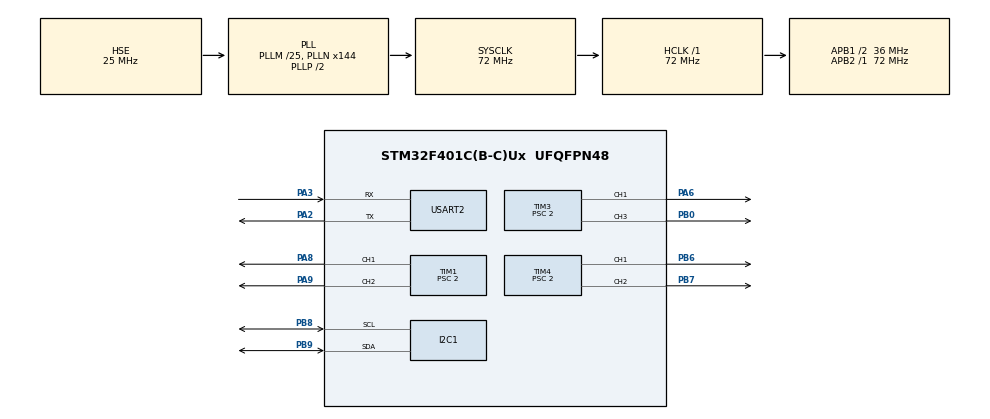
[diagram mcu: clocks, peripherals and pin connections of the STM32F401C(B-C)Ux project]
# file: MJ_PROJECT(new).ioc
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Dma.Request0=TIM1_CH1
Dma.Request1=TIM1_CH2
Dma.Request2=TIM3_CH1/TRIG
Dma.Request3=TIM3_CH3
Dma.Request4=TIM4_CH1
Dma.Request5=TIM4_CH2
Dma.TIM1_CH1.0.Direction=DMA_MEMORY_TO_PERIPH
Dma.TIM1_CH1.0.FIFOMode=DMA_FIFOMODE_DISABLE
Dma.TIM1_CH1.0.Instance=DMA2_Stream1
Dma.TIM1_CH1.0.MemDataAlignment=DMA_MDATAALIGN_HALFWORD
Dma.TIM1_CH1.0.MemInc=DMA_MINC_ENABLE
Dma.TIM1_CH1.0.Mode=DMA_CIRCULAR
Dma.TIM1_CH1.0.PeriphDataAlignment=DMA_PDATAALIGN_HALFWORD
Dma.TIM1_CH1.0.PeriphInc=DMA_PINC_DISABLE
Dma.TIM1_CH1.0.Priority=DMA_PRIORITY_VERY_HIGH
Dma.TIM1_CH2.1.Direction=DMA_MEMORY_TO_PERIPH
Dma.TIM1_CH2.1.FIFOMode=DMA_FIFOMODE_DISABLE
Dma.TIM1_CH2.1.Instance=DMA2_Stream2
Dma.TIM1_CH2.1.MemDataAlignment=DMA_MDATAALIGN_HALFWORD
Dma.TIM1_CH2.1.MemInc=DMA_MINC_ENABLE
Dma.TIM1_CH2.1.Mode=DMA_CIRCULAR
Dma.TIM1_CH2.1.PeriphDataAlignment=DMA_PDATAALIGN_HALFWORD
Dma.TIM1_CH2.1.PeriphInc=DMA_PINC_DISABLE
Dma.TIM1_CH2.1.Priority=DMA_PRIORITY_VERY_HIGH
Dma.TIM3_CH1/TRIG.2.Direction=DMA_MEMORY_TO_PERIPH
Dma.TIM3_CH1/TRIG.2.FIFOMode=DMA_FIFOMODE_DISABLE
Dma.TIM3_CH1/TRIG.2.Instance=DMA1_Stream4
Dma.TIM3_CH1/TRIG.2.MemDataAlignment=DMA_MDATAALIGN_HALFWORD
Dma.TIM3_CH1/TRIG.2.MemInc=DMA_MINC_ENABLE
Dma.TIM3_CH1/TRIG.2.Mode=DMA_CIRCULAR
Dma.TIM3_CH1/TRIG.2.PeriphDataAlignment=DMA_PDATAALIGN_HALFWORD
Dma.TIM3_CH1/TRIG.2.PeriphInc=DMA_PINC_DISABLE
Dma.TIM3_CH1/TRIG.2.Priority=DMA_PRIORITY_VERY_HIGH
Dma.TIM3_CH3.3.Direction=DMA_MEMORY_TO_PERIPH
Dma.TIM3_CH3.3.FIFOMode=DMA_FIFOMODE_DISABLE
Dma.TIM3_CH3.3.Instance=DMA1_Stream7
Dma.TIM3_CH3.3.MemDataAlignment=DMA_MDATAALIGN_HALFWORD
Dma.TIM3_CH3.3.MemInc=DMA_MINC_ENABLE
Dma.TIM3_CH3.3.Mode=DMA_CIRCULAR
Dma.TIM3_CH3.3.PeriphDataAlignment=DMA_PDATAALIGN_HALFWORD
Dma.TIM3_CH3.3.PeriphInc=DMA_PINC_DISABLE
Dma.TIM3_CH3.3.Priority=DMA_PRIORITY_VERY_HIGH
Dma.TIM4_CH1.4.Direction=DMA_MEMORY_TO_PERIPH
Dma.TIM4_CH1.4.FIFOMode=DMA_FIFOMODE_DISABLE
Dma.TIM4_CH1.4.Instance=DMA1_Stream0
Dma.TIM4_CH1.4.MemDataAlignment=DMA_MDATAALIGN_HALFWORD
Dma.TIM4_CH1.4.MemInc=DMA_MINC_ENABLE
Dma.TIM4_CH1.4.Mode=DMA_CIRCULAR
Dma.TIM4_CH1.4.PeriphDataAlignment=DMA_PDATAALIGN_HALFWORD
Dma.TIM4_CH1.4.PeriphInc=DMA_PINC_DISABLE
Dma.TIM4_CH1.4.Priority=DMA_PRIORITY_VERY_HIGH
Dma.TIM4_CH2.5.Direction=DMA_MEMORY_TO_PERIPH
Dma.TIM4_CH2.5.FIFOMode=DMA_FIFOMODE_DISABLE
Dma.TIM4_CH2.5.Instance=DMA1_Stream3
Dma.TIM4_CH2.5.MemDataAlignment=DMA_MDATAALIGN_HALFWORD
Dma.TIM4_CH2.5.MemInc=DMA_MINC_ENABLE
Dma.TIM4_CH2.5.Mode=DMA_CIRCULAR
Dma.TIM4_CH2.5.PeriphDataAlignment=DMA_PDATAALIGN_HALFWORD
Dma.TIM4_CH2.5.PeriphInc=DMA_PINC_DISABLE
Dma.TIM4_CH2.5.Priority=DMA_PRIORITY_VERY_HIGH
I2C1.I2C_Mode=I2C_Fast
Mcu.Family=STM32F4
Mcu.Name=STM32F401C(B-C)Ux
Mcu.Package=UFQFPN48
NVIC.DMA1_Stream0_IRQn=true\:0\:0\:false\:false\:true\:false\:true\:true
NVIC.DMA1_Stream3_IRQn=true\:0\:0\:false\:false\:true\:false\:true\:true
NVIC.DMA1_Stream4_IRQn=true\:0\:0\:false\:false\:true\:false\:true\:true
NVIC.DMA1_Stream7_IRQn=true\:0\:0\:false\:false\:true\:false\:true\:true
NVIC.DMA2_Stream1_IRQn=true\:0\:0\:false\:false\:true\:false\:true\:true
NVIC.DMA2_Stream2_IRQn=true\:0\:0\:false\:false\:true\:false\:true\:true
NVIC.PriorityGroup=NVIC_PRIORITYGROUP_4
PA2.Mode=Asynchronous
PA2.Signal=USART2_TX
PA3.Mode=Asynchronous
PA3.Signal=USART2_RX
PA6.Signal=S_TIM3_CH1
PA8.Signal=S_TIM1_CH1
PA9.Signal=S_TIM1_CH2
PB0.Signal=S_TIM3_CH3
PB6.Signal=S_TIM4_CH1
PB7.Signal=S_TIM4_CH2
PB8.Mode=I2C
PB8.Signal=I2C1_SCL
PB9.Mode=I2C
PB9.Signal=I2C1_SDA
PH0\ -\ OSC_IN.Mode=HSE-External-Oscillator
PH0\ -\ OSC_IN.Signal=RCC_OSC_IN
PH1\ -\ OSC_OUT.Mode=HSE-External-Oscillator
PH1\ -\ OSC_OUT.Signal=RCC_OSC_OUT
ProjectManager.HeapSize=0x200
ProjectManager.StackSize=0x400
ProjectManager.TargetToolchain=STM32CubeIDE
RCC.48MHZClocksFreq_Value=36000000
RCC.AHBFreq_Value=72000000
RCC.APB1CLKDivider=RCC_HCLK_DIV2
RCC.APB1Freq_Value=36000000
RCC.APB1TimFreq_Value=72000000
RCC.APB2Freq_Value=72000000
RCC.APB2TimFreq_Value=72000000
RCC.CortexFreq_Value=72000000
RCC.HCLKFreq_Value=72000000
RCC.HSE_VALUE=25000000
RCC.HSI_VALUE=16000000
RCC.LSE_VALUE=32768
RCC.PLLM=25
RCC.PLLN=144
RCC.PLLSourceVirtual=RCC_PLLSOURCE_HSE
RCC.SYSCLKFreq_VALUE=72000000
RCC.SYSCLKSource=RCC_SYSCLKSOURCE_PLLCLK
RCC.VCOOutputFreq_Value=144000000
SH.S_TIM1_CH1.0=TIM1_CH1,PWM Generation1 CH1
SH.S_TIM1_CH2.0=TIM1_CH2,PWM Generation2 CH2
SH.S_TIM3_CH1.0=TIM3_CH1,PWM Generation1 CH1
SH.S_TIM3_CH3.0=TIM3_CH3,PWM Generation3 CH3
SH.S_TIM4_CH1.0=TIM4_CH1,PWM Generation1 CH1
SH.S_TIM4_CH2.0=TIM4_CH2,PWM Generation2 CH2
STMicroelectronics.X-CUBE-ALGOBUILD.1.4.0.LibraryCcDSPOoLibraryJjDSPOoLibrary=true
TIM1.Channel-PWM\ Generation1\ CH1=TIM_CHANNEL_1
TIM1.Channel-PWM\ Generation2\ CH2=TIM_CHANNEL_2
TIM1.Period=999
TIM1.Prescaler=2
TIM3.Channel-PWM\ Generation1\ CH1=TIM_CHANNEL_1
TIM3.Channel-PWM\ Generation3\ CH3=TIM_CHANNEL_3
TIM3.Period=999
TIM3.Prescaler=2
TIM4.Channel-PWM\ Generation1\ CH1=TIM_CHANNEL_1
TIM4.Channel-PWM\ Generation2\ CH2=TIM_CHANNEL_2
TIM4.Period=999
TIM4.Prescaler=2
USART2.VirtualMode=VM_ASYNC
VP_STMicroelectronics.X-CUBE-ALGOBUILD_VS_DSPOoLibraryJjLibrary_1.4.0_1.4.0.Mode=DSPOoLibraryJjLibrary
VP_TIM1_VS_ClockSourceINT.Mode=Internal
VP_TIM3_VS_ClockSourceINT.Mode=Internal
VP_TIM4_VS_ClockSourceINT.Mode=Internal
board=custom

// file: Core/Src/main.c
/* USER CODE BEGIN Header */
/**
  ******************************************************************************
  * @file           : main.c
  * @brief          : Main program body
  ******************************************************************************
  * @attention
  *
  * Copyright (c) 2026 STMicroelectronics.
  * All rights reserved.
  *
  * This software is licensed under terms that can be found in the LICENSE file
  * in the root directory of this software component.
  * If no LICENSE file comes with this software, it is provided AS-IS.
  *
  ******************************************************************************
  */
/* USER CODE END Header */
#include "main.h"

/* USER CODE BEGIN Includes */
#include "ssd1306.h"
#include "ssd1306_fonts.h"
#include "arm_math.h"

#include <math.h>
#include <stdint.h>
#include <stdio.h>
#include <string.h>

/* ========== NTC CONFIG ========== */
#define ADC_MAX             4095.0f
#define SERIES_RESISTOR     10000.0f
#define NTC_NOMINAL         10000.0f
#define TEMP_NOMINAL        25.0f
#define BETA_COEFFICIENT    3950.0f

#define TEMP_WARNING        70.0f
#define TEMP_SHUTDOWN       85.0f

#define ADC_SAMPLES         8
/* ========== NTC CONFIG ========== */

#define ARR         999   // Timer period
#define SAMPLES     480    // Number of samples per sine wave

uint16_t CCR_table_A[SAMPLES];  // S1/S2/S5/S6/S9/S10
uint16_t CCR_table_B[SAMPLES];  // S3/S4/S7/S8/S11/S12

void generate_sine_table(void)
{
    for(int i = 0; i < SAMPLES; i++)
    {
        float angle    = 2.0f * 3.14159265358979323846f * i / SAMPLES;
        float sine_val = (sinf(angle) + 1.0f) * 0.5f;
        uint16_t duty  = (uint16_t)(sine_val * ARR + 0.5f);

        CCR_table_A[i] = duty;                           // LEG-A/C/E
        CCR_table_B[i] = (uint16_t)(ARR - duty);		 // LEG-B/D/F
    }
}
/* USER CODE END Includes */

I2C_HandleTypeDef hi2c1;

TIM_HandleTypeDef htim1;
TIM_HandleTypeDef htim3;
TIM_HandleTypeDef htim4;
DMA_HandleTypeDef hdma_tim1_ch1;
DMA_HandleTypeDef hdma_tim1_ch2;
DMA_HandleTypeDef hdma_tim3_ch1_trig;
DMA_HandleTypeDef hdma_tim3_ch3;
DMA_HandleTypeDef hdma_tim4_ch1;
DMA_HandleTypeDef hdma_tim4_ch2;

UART_HandleTypeDef huart2;

/* USER CODE BEGIN PV */
uint8_t rx_byte;
char uart_buffer[50];
int uart_index = 0;

void start_synchronized_pwms(void)
{
	// 1️⃣ Start DMA PWM (but don't start counters yet)

	//BRIDGE-1
	HAL_TIM_PWM_Start_DMA(&htim1, TIM_CHANNEL_1, (uint32_t*)CCR_table_A, SAMPLES); // LEG-A
	HAL_TIM_PWM_Start_DMA(&htim1, TIM_CHANNEL_2, (uint32_t*)CCR_table_B, SAMPLES); // LEG-B

	//BRIDGE-2
	HAL_TIM_PWM_Start_DMA(&htim3, TIM_CHANNEL_1, (uint32_t*)CCR_table_A, SAMPLES); // LEG-C
	HAL_TIM_PWM_Start_DMA(&htim3, TIM_CHANNEL_3, (uint32_t*)CCR_table_B, SAMPLES); // LEG-D

	//BRIDGE-3
	HAL_TIM_PWM_Start_DMA(&htim4, TIM_CHANNEL_1, (uint32_t*)CCR_table_A, SAMPLES); // LEG-E
	HAL_TIM_PWM_Start_DMA(&htim4, TIM_CHANNEL_2, (uint32_t*)CCR_table_B, SAMPLES); // LEG-F

	// 2️⃣ Set initial counter offsets (phase shift)
	__HAL_TIM_SET_COUNTER(&htim1, 0);     // 0°   --- bridge1--S1/S2/S3/S4
	__HAL_TIM_SET_COUNTER(&htim3, ARR/6); // 60°  --- bridge2--S5/S6/S7/S8
	__HAL_TIM_SET_COUNTER(&htim4, ARR/3); // 120° --- bridge3--S9/S10/S11/S12

	// 3️⃣ Start ALL timers AT ONCE
	HAL_TIM_Base_Start(&htim1);	//BRIDGE-1
	HAL_TIM_Base_Start(&htim3);	//BRIDGE-2
	HAL_TIM_Base_Start(&htim4); //BRIDGE-3

}
/* USER CODE END PV */

void SystemClock_Config(void);
static void MX_GPIO_Init(void);
static void MX_DMA_Init(void);
static void MX_TIM1_Init(void);
static void MX_TIM3_Init(void);
static void MX_TIM4_Init(void);
static void MX_I2C1_Init(void);
static void MX_USART2_UART_Init(void);

int main(void)
{

  /* MCU Configuration--------------------------------------------------------*/

  /* Reset of all peripherals, Initializes the Flash interface and the Systick. */
  HAL_Init();

  /* Configure the system clock */
  SystemClock_Config();

  /* Initialize all configured peripherals */
  MX_GPIO_Init();
  MX_DMA_Init();
  MX_TIM1_Init();
  MX_TIM3_Init();
  MX_TIM4_Init();
  MX_I2C1_Init();
  MX_USART2_UART_Init();
  /* USER CODE BEGIN 2 */
  	generate_sine_table();         // Fill all 6 tables with SAME sine
    start_synchronized_pwms();     // Start DMA + timers with carrier shift

    ssd1306_Init();       // start OLED
    ssd1306_Fill(Black);
    ssd1306_UpdateScreen();

    // Start UART interrupt receive
    HAL_UART_Receive_IT(&huart2, &rx_byte, 1);
  /* USER CODE END 2 */

  /* Infinite loop */
  while (1)
  {

  }
}

void SystemClock_Config(void)
{
  RCC_OscInitTypeDef RCC_OscInitStruct = {0};
  RCC_ClkInitTypeDef RCC_ClkInitStruct = {0};

  /** Configure the main internal regulator output voltage
  */
  __HAL_RCC_PWR_CLK_ENABLE();
  __HAL_PWR_VOLTAGESCALING_CONFIG(PWR_REGULATOR_VOLTAGE_SCALE2);

  /** Initializes the RCC Oscillators according to the specified parameters
  * in the RCC_OscInitTypeDef structure.
  */
  RCC_OscInitStruct.OscillatorType = RCC_OSCILLATORTYPE_HSE;
  RCC_OscInitStruct.HSEState = RCC_HSE_ON;
  RCC_OscInitStruct.PLL.PLLState = RCC_PLL_ON;
  RCC_OscInitStruct.PLL.PLLSource = RCC_PLLSOURCE_HSE;
  RCC_OscInitStruct.PLL.PLLM = 25;
  RCC_OscInitStruct.PLL.PLLN = 144;
  RCC_OscInitStruct.PLL.PLLP = RCC_PLLP_DIV2;
  RCC_OscInitStruct.PLL.PLLQ = 4;
  if (HAL_RCC_OscConfig(&RCC_OscInitStruct) != HAL_OK)
  {
    Error_Handler();
  }

  /** Initializes the CPU, AHB and APB buses clocks
  */
  RCC_ClkInitStruct.ClockType = RCC_CLOCKTYPE_HCLK|RCC_CLOCKTYPE_SYSCLK
                              |RCC_CLOCKTYPE_PCLK1|RCC_CLOCKTYPE_PCLK2;
  RCC_ClkInitStruct.SYSCLKSource = RCC_SYSCLKSOURCE_PLLCLK;
  RCC_ClkInitStruct.AHBCLKDivider = RCC_SYSCLK_DIV1;
  RCC_ClkInitStruct.APB1CLKDivider = RCC_HCLK_DIV2;
  RCC_ClkInitStruct.APB2CLKDivider = RCC_HCLK_DIV1;

  if (HAL_RCC_ClockConfig(&RCC_ClkInitStruct, FLASH_LATENCY_2) != HAL_OK)
  {
    Error_Handler();
  }
}

static void MX_I2C1_Init(void)
{

  hi2c1.Instance = I2C1;
  hi2c1.Init.ClockSpeed = 400000;
  hi2c1.Init.DutyCycle = I2C_DUTYCYCLE_2;
  hi2c1.Init.OwnAddress1 = 0;
  hi2c1.Init.AddressingMode = I2C_ADDRESSINGMODE_7BIT;
  hi2c1.Init.DualAddressMode = I2C_DUALADDRESS_DISABLE;
  hi2c1.Init.OwnAddress2 = 0;
  hi2c1.Init.GeneralCallMode = I2C_GENERALCALL_DISABLE;
  hi2c1.Init.NoStretchMode = I2C_NOSTRETCH_DISABLE;
  if (HAL_I2C_Init(&hi2c1) != HAL_OK)
  {
    Error_Handler();
  }

}

static void MX_TIM1_Init(void)
{

  TIM_ClockConfigTypeDef sClockSourceConfig = {0};
  TIM_MasterConfigTypeDef sMasterConfig = {0};
  TIM_OC_InitTypeDef sConfigOC = {0};
  TIM_BreakDeadTimeConfigTypeDef sBreakDeadTimeConfig = {0};

  htim1.Instance = TIM1;
  htim1.Init.Prescaler = 2;
  htim1.Init.CounterMode = TIM_COUNTERMODE_UP;
  htim1.Init.Period = 999;
  htim1.Init.ClockDivision = TIM_CLOCKDIVISION_DIV1;
  htim1.Init.RepetitionCounter = 0;
  htim1.Init.AutoReloadPreload = TIM_AUTORELOAD_PRELOAD_DISABLE;
  if (HAL_TIM_Base_Init(&htim1) != HAL_OK)
  {
    Error_Handler();
  }
  sClockSourceConfig.ClockSource = TIM_CLOCKSOURCE_INTERNAL;
  if (HAL_TIM_ConfigClockSource(&htim1, &sClockSourceConfig) != HAL_OK)
  {
    Error_Handler();
  }
  if (HAL_TIM_PWM_Init(&htim1) != HAL_OK)
  {
    Error_Handler();
  }
  sMasterConfig.MasterOutputTrigger = TIM_TRGO_RESET;
  sMasterConfig.MasterSlaveMode = TIM_MASTERSLAVEMODE_DISABLE;
  if (HAL_TIMEx_MasterConfigSynchronization(&htim1, &sMasterConfig) != HAL_OK)
  {
    Error_Handler();
  }
  sConfigOC.OCMode = TIM_OCMODE_PWM1;
  sConfigOC.Pulse = 0;
  sConfigOC.OCPolarity = TIM_OCPOLARITY_HIGH;
  sConfigOC.OCNPolarity = TIM_OCNPOLARITY_HIGH;
  sConfigOC.OCFastMode = TIM_OCFAST_DISABLE;
  sConfigOC.OCIdleState = TIM_OCIDLESTATE_RESET;
  sConfigOC.OCNIdleState = TIM_OCNIDLESTATE_RESET;
  if (HAL_TIM_PWM_ConfigChannel(&htim1, &sConfigOC, TIM_CHANNEL_1) != HAL_OK)
  {
    Error_Handler();
  }
  if (HAL_TIM_PWM_ConfigChannel(&htim1, &sConfigOC, TIM_CHANNEL_2) != HAL_OK)
  {
    Error_Handler();
  }
  sBreakDeadTimeConfig.OffStateRunMode = TIM_OSSR_DISABLE;
  sBreakDeadTimeConfig.OffStateIDLEMode = TIM_OSSI_DISABLE;
  sBreakDeadTimeConfig.LockLevel = TIM_LOCKLEVEL_OFF;
  sBreakDeadTimeConfig.DeadTime = 0;
  sBreakDeadTimeConfig.BreakState = TIM_BREAK_DISABLE;
  sBreakDeadTimeConfig.BreakPolarity = TIM_BREAKPOLARITY_HIGH;
  sBreakDeadTimeConfig.AutomaticOutput = TIM_AUTOMATICOUTPUT_DISABLE;
  if (HAL_TIMEx_ConfigBreakDeadTime(&htim1, &sBreakDeadTimeConfig) != HAL_OK)
  {
    Error_Handler();
  }
  HAL_TIM_MspPostInit(&htim1);

}

static void MX_TIM3_Init(void)
{

  TIM_ClockConfigTypeDef sClockSourceConfig = {0};
  TIM_MasterConfigTypeDef sMasterConfig = {0};
  TIM_OC_InitTypeDef sConfigOC = {0};

  htim3.Instance = TIM3;
  htim3.Init.Prescaler = 2;
  htim3.Init.CounterMode = TIM_COUNTERMODE_UP;
  htim3.Init.Period = 999;
  htim3.Init.ClockDivision = TIM_CLOCKDIVISION_DIV1;
  htim3.Init.AutoReloadPreload = TIM_AUTORELOAD_PRELOAD_DISABLE;
  if (HAL_TIM_Base_Init(&htim3) != HAL_OK)
  {
    Error_Handler();
  }
  sClockSourceConfig.ClockSource = TIM_CLOCKSOURCE_INTERNAL;
  if (HAL_TIM_ConfigClockSource(&htim3, &sClockSourceConfig) != HAL_OK)
  {
    Error_Handler();
  }
  if (HAL_TIM_PWM_Init(&htim3) != HAL_OK)
  {
    Error_Handler();
  }
  sMasterConfig.MasterOutputTrigger = TIM_TRGO_RESET;
  sMasterConfig.MasterSlaveMode = TIM_MASTERSLAVEMODE_DISABLE;
  if (HAL_TIMEx_MasterConfigSynchronization(&htim3, &sMasterConfig) != HAL_OK)
  {
    Error_Handler();
  }
  sConfigOC.OCMode = TIM_OCMODE_PWM1;
  sConfigOC.Pulse = 0;
  sConfigOC.OCPolarity = TIM_OCPOLARITY_HIGH;
  sConfigOC.OCFastMode = TIM_OCFAST_DISABLE;
  if (HAL_TIM_PWM_ConfigChannel(&htim3, &sConfigOC, TIM_CHANNEL_1) != HAL_OK)
  {
    Error_Handler();
  }
  if (HAL_TIM_PWM_ConfigChannel(&htim3, &sConfigOC, TIM_CHANNEL_3) != HAL_OK)
  {
    Error_Handler();
  }
  HAL_TIM_MspPostInit(&htim3);

}

static void MX_TIM4_Init(void)
{

  TIM_ClockConfigTypeDef sClockSourceConfig = {0};
  TIM_MasterConfigTypeDef sMasterConfig = {0};
  TIM_OC_InitTypeDef sConfigOC = {0};

  htim4.Instance = TIM4;
  htim4.Init.Prescaler = 2;
  htim4.Init.CounterMode = TIM_COUNTERMODE_UP;
  htim4.Init.Period = 999;
  htim4.Init.ClockDivision = TIM_CLOCKDIVISION_DIV1;
  htim4.Init.AutoReloadPreload = TIM_AUTORELOAD_PRELOAD_DISABLE;
  if (HAL_TIM_Base_Init(&htim4) != HAL_OK)
  {
    Error_Handler();
  }
  sClockSourceConfig.ClockSource = TIM_CLOCKSOURCE_INTERNAL;
  if (HAL_TIM_ConfigClockSource(&htim4, &sClockSourceConfig) != HAL_OK)
  {
    Error_Handler();
  }
  if (HAL_TIM_PWM_Init(&htim4) != HAL_OK)
  {
    Error_Handler();
  }
  sMasterConfig.MasterOutputTrigger = TIM_TRGO_RESET;
  sMasterConfig.MasterSlaveMode = TIM_MASTERSLAVEMODE_DISABLE;
  if (HAL_TIMEx_MasterConfigSynchronization(&htim4, &sMasterConfig) != HAL_OK)
  {
    Error_Handler();
  }
  sConfigOC.OCMode = TIM_OCMODE_PWM1;
  sConfigOC.Pulse = 0;
  sConfigOC.OCPolarity = TIM_OCPOLARITY_HIGH;
  sConfigOC.OCFastMode = TIM_OCFAST_DISABLE;
  if (HAL_TIM_PWM_ConfigChannel(&htim4, &sConfigOC, TIM_CHANNEL_1) != HAL_OK)
  {
    Error_Handler();
  }
  if (HAL_TIM_PWM_ConfigChannel(&htim4, &sConfigOC, TIM_CHANNEL_2) != HAL_OK)
  {
    Error_Handler();
  }
  HAL_TIM_MspPostInit(&htim4);

}

static void MX_USART2_UART_Init(void)
{

  huart2.Instance = USART2;
  huart2.Init.BaudRate = 115200;
  huart2.Init.WordLength = UART_WORDLENGTH_8B;
  huart2.Init.StopBits = UART_STOPBITS_1;
  huart2.Init.Parity = UART_PARITY_NONE;
  huart2.Init.Mode = UART_MODE_TX_RX;
  huart2.Init.HwFlowCtl = UART_HWCONTROL_NONE;
  huart2.Init.OverSampling = UART_OVERSAMPLING_16;
  if (HAL_UART_Init(&huart2) != HAL_OK)
  {
    Error_Handler();
  }

}

static void MX_DMA_Init(void)
{

  /* DMA controller clock enable */
  __HAL_RCC_DMA2_CLK_ENABLE();
  __HAL_RCC_DMA1_CLK_ENABLE();

  /* DMA interrupt init */
  /* DMA1_Stream0_IRQn interrupt configuration */
  HAL_NVIC_SetPriority(DMA1_Stream0_IRQn, 0, 0);
  HAL_NVIC_EnableIRQ(DMA1_Stream0_IRQn);
  /* DMA1_Stream3_IRQn interrupt configuration */
  HAL_NVIC_SetPriority(DMA1_Stream3_IRQn, 0, 0);
  HAL_NVIC_EnableIRQ(DMA1_Stream3_IRQn);
  /* DMA1_Stream4_IRQn interrupt configuration */
  HAL_NVIC_SetPriority(DMA1_Stream4_IRQn, 0, 0);
  HAL_NVIC_EnableIRQ(DMA1_Stream4_IRQn);
  /* DMA1_Stream7_IRQn interrupt configuration */
  HAL_NVIC_SetPriority(DMA1_Stream7_IRQn, 0, 0);
  HAL_NVIC_EnableIRQ(DMA1_Stream7_IRQn);
  /* DMA2_Stream1_IRQn interrupt configuration */
  HAL_NVIC_SetPriority(DMA2_Stream1_IRQn, 0, 0);
  HAL_NVIC_EnableIRQ(DMA2_Stream1_IRQn);
  /* DMA2_Stream2_IRQn interrupt configuration */
  HAL_NVIC_SetPriority(DMA2_Stream2_IRQn, 0, 0);
  HAL_NVIC_EnableIRQ(DMA2_Stream2_IRQn);

}

static void MX_GPIO_Init(void)
{

  /* GPIO Ports Clock Enable */
  __HAL_RCC_GPIOH_CLK_ENABLE();
  __HAL_RCC_GPIOA_CLK_ENABLE();
  __HAL_RCC_GPIOB_CLK_ENABLE();

}

/* USER CODE BEGIN 4 */
void HAL_UART_RxCpltCallback(UART_HandleTypeDef *huart)
{
    if(huart->Instance == USART2)
    {
        // store incoming characters
        if(rx_byte != '\n' && uart_index < 49)
        {
            uart_buffer[uart_index++] = rx_byte;
        }
        else
        {
            uart_buffer[uart_index] = '\0';   // complete string
            uart_index = 0;

            // 🔥 DISPLAY ON OLED
            ssd1306_Fill(Black);

            ssd1306_SetCursor(0,0);
            ssd1306_WriteString("UART Data:", Font_7x10, White);

            ssd1306_SetCursor(0,20);
            ssd1306_WriteString(uart_buffer, Font_7x10, White);

            ssd1306_UpdateScreen();
        }

        HAL_UART_Receive_IT(&huart2, &rx_byte, 1);
    }
}
/* USER CODE END 4 */

void Error_Handler(void)
{
  __disable_irq();
  while (1)
  {
  }
}
